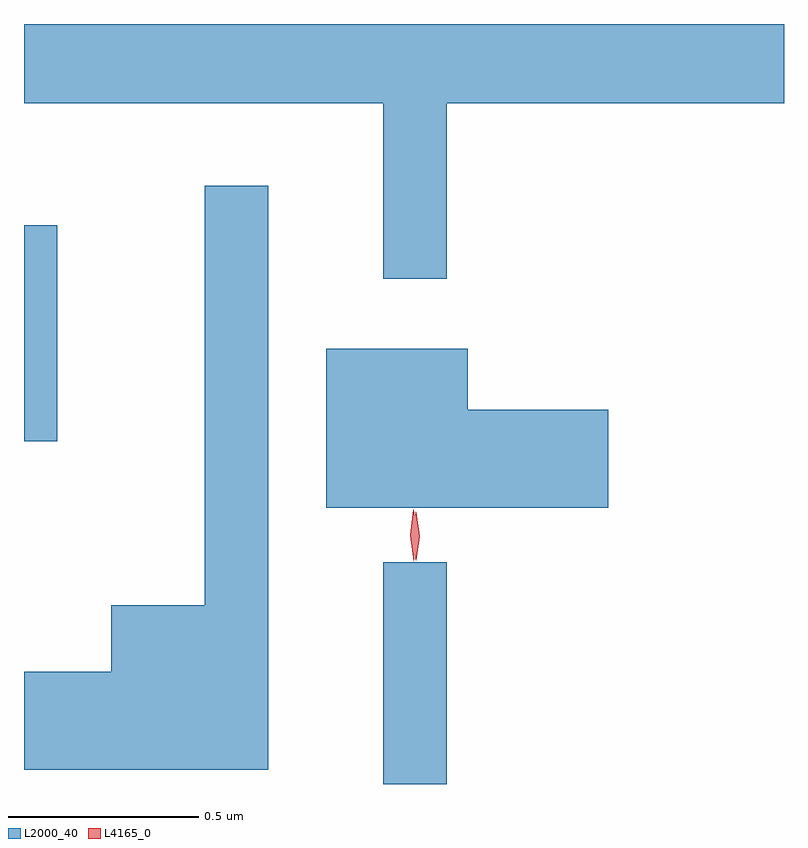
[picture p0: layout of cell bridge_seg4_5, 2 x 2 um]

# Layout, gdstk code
import gdstk
lib = gdstk.Library(unit=1e-6, precision=1e-09)
def R(c, l, rs):  # rectangles x0, y0, x1, y1
    for r in rs: c.add(gdstk.rectangle(r[:2], r[2:], *l))
def P(c, l, *ps):  # polygons
    for p in ps: c.add(gdstk.Polygon(p, *l))
L2000_40 = (2000, 40)
L4165_0 = (4165, 0)

bridge_seg4_5 = lib.new_cell('bridge_seg4_5')
R(bridge_seg4_5, L2000_40, [(1182.451,1386.184,1182.619,1386.768), (1181.506,1387.086,1181.594,1387.654)])
P(bridge_seg4_5, L2000_40, [(1182.619,1387.976),(1183.506,1387.976),(1183.506,1388.184),(1181.506,1388.184),(1181.506,1387.976),(1182.451,1387.976),(1182.451,1387.513),(1182.619,1387.513)],
  [(1182.149,1387.758),(1181.981,1387.758),(1181.981,1386.654),(1181.736,1386.654),(1181.736,1386.479),(1181.506,1386.479),(1181.506,1386.221),(1182.149,1386.221)],
  [(1183.044,1387.169),(1182.674,1387.169),(1182.674,1387.329),(1182.301,1387.329),(1182.301,1386.911),(1183.044,1386.911)])
P(bridge_seg4_5, L4165_0, [(1182.531,1386.77),(1182.522,1386.838),(1182.53,1386.906),(1182.531,1386.906),(1182.532,1386.906),(1182.541,1386.838),(1182.532,1386.77),(1182.532,1386.77)],
  [(1182.537,1386.773),(1182.537,1386.773),(1182.527,1386.836),(1182.537,1386.899),(1182.537,1386.9),(1182.538,1386.899),(1182.547,1386.836),(1182.538,1386.773)])

lib.write_gds('bridge_seg4_5.gds')
